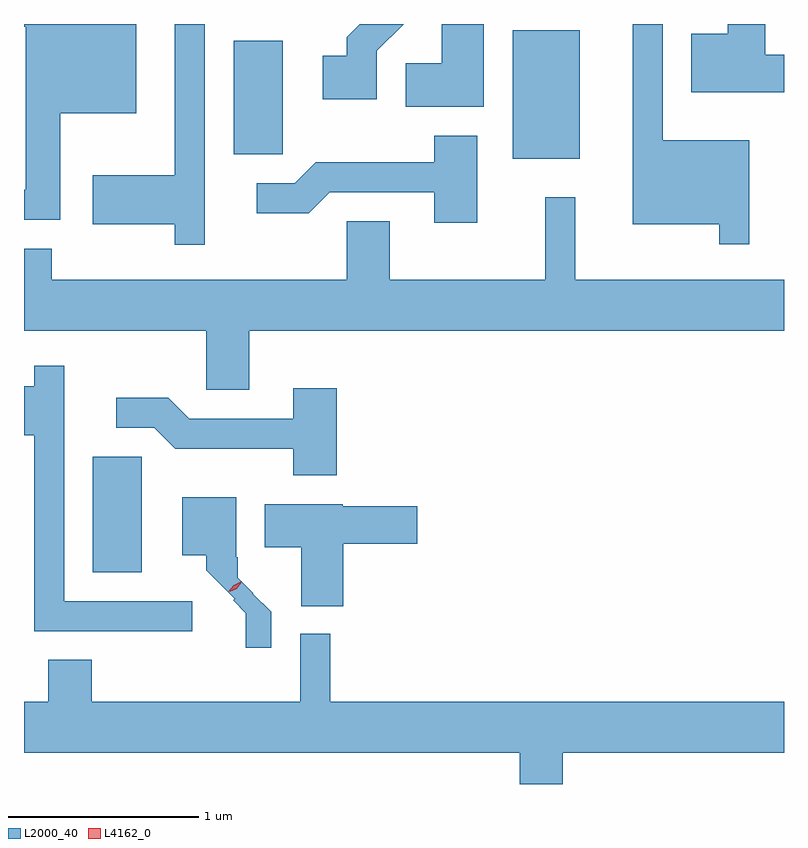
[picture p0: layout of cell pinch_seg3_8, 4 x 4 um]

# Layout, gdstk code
import gdstk
lib = gdstk.Library(unit=1e-6, precision=1e-09)
def R(c, l, rs):  # rectangles x0, y0, x1, y1
    for r in rs: c.add(gdstk.rectangle(r[:2], r[2:], *l))
def P(c, l, *ps):  # polygons
    for p in ps: c.add(gdstk.Polygon(p, *l))
L2000_40 = (2000, 40)
L4162_0 = (4162, 0)

pinch_seg3_8 = lib.new_cell('pinch_seg3_8')
R(pinch_seg3_8, L2000_40, [(855.766,1126.966,856.024,1127.574), (857.976,1129.141,858.329,1129.819), (856.506,1129.166,856.764,1129.764)])
P(pinch_seg3_8, L2000_40, [(859.219,1129.239),(858.764,1129.239),(858.764,1129.851),(858.606,1129.851),(858.606,1128.796),(859.061,1128.796),(859.061,1128.693),(859.219,1128.693)],
  [(855.594,1129.381),(855.994,1129.381),(855.994,1129.851),(855.403,1129.851),(855.403,1129.836),(855.411,1129.836),(855.411,1128.979),(855.403,1128.979),(855.403,1128.821),(855.594,1128.821)],
  [(857.259,1129.709),(857.401,1129.851),(857.17,1129.851),(857.101,1129.782),(857.101,1129.684),(856.976,1129.684),(856.976,1129.456),(857.259,1129.456)],
  [(856.354,1129.851),(856.196,1129.851),(856.196,1129.054),(855.766,1129.054),(855.766,1128.796),(856.196,1128.796),(856.196,1128.688),(856.354,1128.688)],
  [(859.403,1129.689),(859.304,1129.689),(859.304,1129.851),(859.106,1129.851),(859.106,1129.799),(858.916,1129.799),(858.916,1129.491),(859.403,1129.491)],
  [(857.824,1129.851),(857.601,1129.851),(857.601,1129.644),(857.411,1129.644),(857.411,1129.416),(857.824,1129.416)],
  [(857.789,1129.264),(857.561,1129.264),(857.561,1129.124),(856.939,1129.124),(856.829,1129.014),(856.628,1129.014),(856.628,1128.856),(856.902,1128.856),(857.012,1128.966),(857.561,1128.966),(857.561,1128.806),(857.789,1128.806)],
  [(859.403,1128.504),(858.304,1128.504),(858.304,1128.938),(858.146,1128.938),(858.146,1128.504),(857.329,1128.504),(857.329,1128.814),(857.101,1128.814),(857.101,1128.504),(855.549,1128.504),(855.549,1128.669),(855.403,1128.669),(855.403,1128.236),(856.361,1128.236),(856.361,1127.926),(856.589,1127.926),(856.589,1128.236),(859.403,1128.236)],
  [(856.288,1126.814),(855.614,1126.814),(855.614,1128.053),(855.456,1128.053),(855.456,1127.944),(855.403,1127.944),(855.403,1127.686),(855.456,1127.686),(855.456,1126.656),(856.288,1126.656)],
  [(857.049,1127.934),(856.821,1127.934),(856.821,1127.774),(856.272,1127.774),(856.162,1127.884),(855.888,1127.884),(855.888,1127.726),(856.089,1127.726),(856.199,1127.616),(856.821,1127.616),(856.821,1127.476),(857.049,1127.476)],
  [(856.704,1126.757),(856.608,1126.853),(856.61,1126.855),(856.528,1126.937),(856.528,1127.045),(856.519,1127.045),(856.519,1127.359),(856.236,1127.359),(856.236,1127.056),(856.361,1127.056),(856.361,1126.976),(856.511,1126.826),(856.503,1126.818),(856.57,1126.751),(856.57,1126.568),(856.704,1126.568)],
  [(857.084,1127.116),(857.474,1127.116),(857.474,1127.314),(857.08,1127.314),(857.08,1127.324),(856.671,1127.324),(856.671,1127.096),(856.861,1127.096),(856.861,1126.786),(857.084,1126.786)],
  [(858.239,1126.016),(859.403,1126.016),(859.403,1126.284),(857.014,1126.284),(857.014,1126.643),(856.856,1126.643),(856.856,1126.284),(855.759,1126.284),(855.759,1126.504),(855.531,1126.504),(855.531,1126.284),(855.403,1126.284),(855.403,1126.016),(858.011,1126.016),(858.011,1125.851),(858.239,1125.851)])
P(pinch_seg3_8, L4162_0, [(856.477,1126.862),(856.477,1126.863),(856.507,1126.898),(856.548,1126.918),(856.549,1126.918),(856.549,1126.917),(856.519,1126.882),(856.478,1126.862)],
  [(856.485,1126.862),(856.485,1126.862),(856.51,1126.894),(856.546,1126.911),(856.547,1126.911),(856.547,1126.91),(856.522,1126.878),(856.486,1126.862)])

lib.write_gds('pinch_seg3_8.gds')
